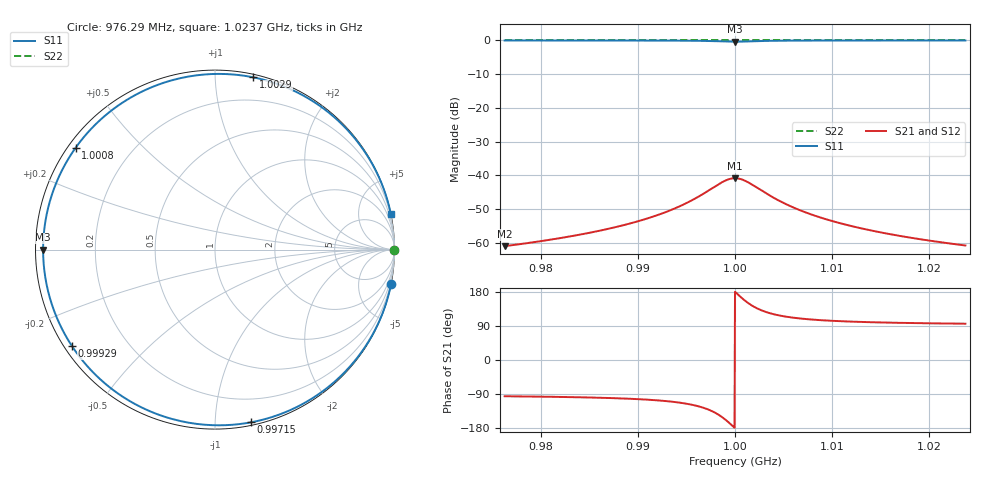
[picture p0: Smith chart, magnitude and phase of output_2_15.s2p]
! File generated for n1 = 2, n2 = 15
! b1 = 46.415888
! b2 = 0.001000
! Q0 = 10000.000000
! f0 = 1000000000.000000
! n = 1001
! rel_span = 10.000000
# Hz S RI R 50
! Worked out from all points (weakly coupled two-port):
!   1001 points, 976.29 MHz to 1.0237 GHz, reference 50 ohm
!   highest |S21| = -40.83 dB at 1 GHz (marker M1); lowest = -61.0 dB at 976.29 MHz (marker M2)
!   lowest |S11| = -0.4 dB at 1 GHz (marker M3), VSWR 46.37, Z = 1.08 + j0 ohm
!   |S11| at or under -10 dB: nowhere
!   |S22| runs from 0.0 to 0.0 dB; largest |S21 - S12| = 0
!   S11 on the Smith chart (normalised r, x): 976.29 MHz: 0, -10; 997.15 MHz: 0.02, -1.23; 999.29 MHz: 0.02, -0.31; 1.0008 GHz: 0.02, +0.33; 1.0029 GHz: 0.02, +1.24; 1.0237 GHz: 0, +10
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9.762916e8  0.9811 -0.1916  -8.78e-05 -0.000889  -8.78e-05 -0.000889  1 -4.13e-06
9.842102e8  0.9575 -0.2853  -0.000197 -0.00132  -0.000197 -0.00132  1 -6.15e-06
9.887148e8  0.9181 -0.3919  -0.00038 -0.00182  -0.00038 -0.00182  1 -8.44e-06
9.921288e8  0.8383 -0.5389  -0.00075 -0.0025  -0.00075 -0.0025  1 -1.16e-05
9.951635e8  0.6222 -0.7726  -0.00175 -0.00359  -0.00175 -0.00359  1 -1.66e-05
9.962541e8  0.4416 -0.884  -0.00259 -0.0041  -0.00259 -0.0041  1 -1.9e-05
9.97155e8  0.199 -0.9626  -0.00372 -0.00447  -0.00372 -0.00447  1 -2.07e-05
9.983404e8  -0.3132 -0.92  -0.0061 -0.00427  -0.0061 -0.00427  1 -1.98e-05
9.988146e8  -0.5659 -0.7834  -0.00727 -0.00364  -0.00727 -0.00364  1 -1.69e-05
9.992887e8  -0.796 -0.539  -0.00834 -0.0025  -0.00834 -0.0025  1 -1.16e-05
1e9  -0.9578 0  -0.00909 0  -0.00909 0  1 0
1.000379e9  -0.9089 0.3054  -0.00886 0.00142  -0.00886 0.00142  1 6.58e-06
1.000759e9  -0.776 0.5681  -0.00824 0.00264  -0.00824 0.00264  1 1.22e-05
1.001185e9  -0.5666 0.7828  -0.00727 0.00363  -0.00727 0.00363  1 1.69e-05
1.00166e9  -0.3147 0.9195  -0.0061 0.00427  -0.0061 0.00427  1 1.98e-05
1.002181e9  -0.0614 0.9754  -0.00493 0.00453  -0.00493 0.00453  1 2.1e-05
1.002892e9  0.2119 0.9601  -0.00366 0.00446  -0.00366 0.00446  1 2.07e-05
1.003793e9  0.4486 0.8806  -0.00256 0.00409  -0.00256 0.00409  1 1.9e-05
1.004884e9  0.6252 0.7703  -0.00174 0.00358  -0.00174 0.00358  1 1.66e-05
1.007919e9  0.8378 0.5397  -0.000753 0.00251  -0.000753 0.00251  1 1.16e-05
1.015837e9  0.9564 0.2888  -0.000202 0.00134  -0.000202 0.00134  1 6.22e-06
1.023708e9  0.9802 0.1961  -9.21e-05 0.00091  -9.21e-05 0.00091  1 4.22e-06
